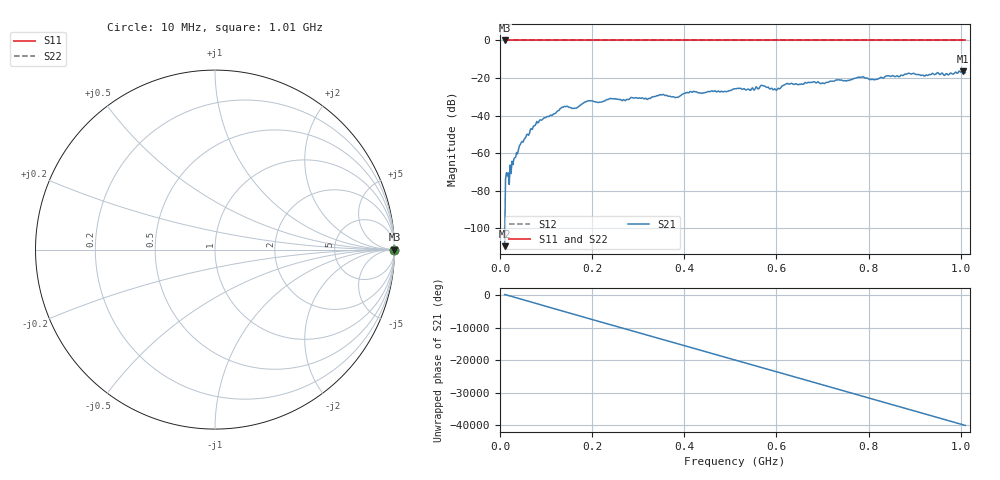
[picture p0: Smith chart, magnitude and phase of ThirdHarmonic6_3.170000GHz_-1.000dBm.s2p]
! 8/17/2025 9:32:40 AM
! C:\ANRITSUVNA\TEMP\TEMP.S2P
! CHANNEL.1
! TR.MEASUREMENT
! RAW.DATA
! RF.CORRECTION.OFF
! AVERAGING.OFF
! IF.BANDWIDTH: 5KHZ
! SWEEPTYPE:  FREQ.SWEEP(Linear)
! Reference Plane Port Info
! PORT:  PORT1  PORT2
! DISTANCE:  0  m  0  m
! TIME:  0  s  0  s
! PHASE.OFFSET:  0  deg.  0  deg.
! LOSS:  0  dB  0  dB
! REF.LOSS:  0  dB  0  dB
! REF.FREQ:  0  Hz  0  Hz
! Power Info
! POWER:  -20  dBm  -20  dBm
! EFF.POWER:  -20  dBm  -20  dBm
! SOURCE.ATTEN:  0  dB  0  dB
! TEST.ATTEN:  0  dB  0  dB
# GHZ S RI R 50.0
! FREQ.GHZ  S11RE  S11IM  S21RE  S21IM  S12RE  S12IM  S22RE  S22IM
!; PortSelection: Port_12
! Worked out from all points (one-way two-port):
!   501 points, 10 MHz to 1.01 GHz, reference 50 ohm
!   highest |S21| = -16.35 dB at 1.004 GHz (marker M1); lowest = -109.6 dB at 10 MHz (marker M2)
!   lowest |S11| = 0.0 dB at 10 MHz (marker M3)
!   |S11| at or under -10 dB: nowhere
!   |S22| runs from 0.0 to 0.0 dB; largest |S21 - S12| = 1.1
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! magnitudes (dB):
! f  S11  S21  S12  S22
! 10 MHz  0.0  -109.6  0.0  0.0
! 44 MHz  0.0  -55.5  0.0  0.0
! 76 MHz  0.0  -45.3  0.0  0.0
! 136 MHz  0.0  -35.6  0.0  0.0
! 162 MHz  0.0  -36.1  0.0  0.0
! 178 MHz  0.0  -33.8  0.0  0.0
! 194 MHz  0.0  -32.1  0.0  0.0
! 322 MHz  0.0  -31.0  0.0  0.0
! 344 MHz  0.0  -29.4  0.0  0.0
! 384 MHz  0.0  -30.3  0.0  0.0
! 416 MHz  0.0  -27.5  0.0  0.0
! 510 MHz  0.0  -25.7  0.0  0.0
! 548 MHz  0.0  -25.2  0.0  0.0
! 570 MHz  0.0  -24.1  0.0  0.0
! 596 MHz  0.0  -25.7  0.0  0.0
! 622 MHz  0.0  -23.0  0.0  0.0
! 678 MHz  0.0  -22.3  0.0  0.0
! 784 MHz  0.0  -19.6  0.0  0.0
! 814 MHz  0.0  -20.8  0.0  0.0
! 844 MHz  0.0  -18.9  0.0  0.0
! 1.004 GHz  0.0  -16.3  0.0  0.0
! 1.01 GHz  0.0  -17.2  0.0  0.0
